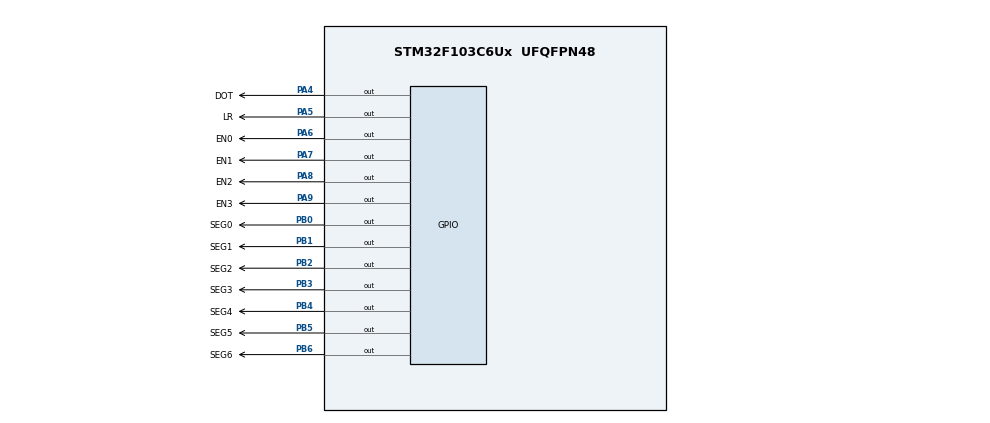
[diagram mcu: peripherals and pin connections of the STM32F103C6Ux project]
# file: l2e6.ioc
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Mcu.Family=STM32F1
Mcu.Name=STM32F103C6Ux
Mcu.Package=UFQFPN48
NVIC.PriorityGroup=NVIC_PRIORITYGROUP_4
NVIC.TIM2_IRQn=true\:0\:0\:false\:false\:true\:true\:true
PA4.GPIO_Label=DOT
PA4.Signal=GPIO_Output
PA5.GPIO_Label=LR
PA5.Signal=GPIO_Output
PA6.GPIO_Label=EN0
PA6.Signal=GPIO_Output
PA7.GPIO_Label=EN1
PA7.Signal=GPIO_Output
PA8.GPIO_Label=EN2
PA8.Signal=GPIO_Output
PA9.GPIO_Label=EN3
PA9.Signal=GPIO_Output
PB0.GPIO_Label=SEG0
PB0.Signal=GPIO_Output
PB1.GPIO_Label=SEG1
PB1.Signal=GPIO_Output
PB2.GPIO_Label=SEG2
PB2.Signal=GPIO_Output
PB3.GPIO_Label=SEG3
PB3.Signal=GPIO_Output
PB4.GPIO_Label=SEG4
PB4.Signal=GPIO_Output
PB5.GPIO_Label=SEG5
PB5.Signal=GPIO_Output
PB6.GPIO_Label=SEG6
PB6.Signal=GPIO_Output
ProjectManager.HeapSize=0x200
ProjectManager.StackSize=0x400
ProjectManager.TargetToolchain=STM32CubeIDE
RCC.APB1Freq_Value=8000000
RCC.APB2Freq_Value=8000000
TIM2.Period=9
TIM2.Prescaler=7999
VP_SYS_VS_ND.Mode=No_Debug
VP_TIM2_VS_ClockSourceINT.Mode=Internal
board=custom

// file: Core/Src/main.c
/* USER CODE BEGIN Header */
/**
  ******************************************************************************
  * @file           : main.c
  * @brief          : Main program body
  ******************************************************************************
  * @attention
  *
  * <h2><center>&copy; Copyright (c) 2026 STMicroelectronics.
  * All rights reserved.</center></h2>
  *
  * This software component is licensed by ST under BSD 3-Clause license,
  * the "License"; You may not use this file except in compliance with the
  * License. You may obtain a copy of the License at:
  *                        opensource.org/licenses/BSD-3-Clause
  *
  ******************************************************************************
  */
/* USER CODE END Header */
#include "main.h"

TIM_HandleTypeDef htim2;

void SystemClock_Config(void);
static void MX_GPIO_Init(void);
static void MX_TIM2_Init(void);

/* USER CODE BEGIN 0 */
int timer0_counter = 0;
int timer0_flag = 0;
int TIMER_CYCLE = 10;
void setTimer0 ( int duration ) {
	timer0_counter = duration / TIMER_CYCLE ;
	timer0_flag = 0;
}
void timer_run () {
	if( timer0_counter > 0){
		timer0_counter--;
		if( timer0_counter == 0) timer0_flag = 1;
	}
}
/* USER CODE END 0 */

void display7SEG(int num) {
    if (num < 0 || num > 9) return;

    uint8_t segMatrix[10][7] = {
        {0, 0, 0, 0, 0, 0, 1}, // Số 0
        {1, 0, 0, 1, 1, 1, 1}, // Số 1
        {0, 0, 1, 0, 0, 1, 0}, // Số 2
        {0, 0, 0, 0, 1, 1, 0}, // Số 3
        {1, 0, 0, 1, 1, 0, 0}, // Số 4
        {0, 1, 0, 0, 1, 0, 0}, // Số 5
        {0, 1, 0, 0, 0, 0, 0}, // Số 6
        {0, 0, 0, 1, 1, 1, 1}, // Số 7
        {0, 0, 0, 0, 0, 0, 0}, // Số 8
        {0, 0, 0, 0, 1, 0, 0}  // Số 9
    };

    HAL_GPIO_WritePin(SEG0_GPIO_Port, SEG0_Pin, segMatrix[num][0]);
    HAL_GPIO_WritePin(SEG1_GPIO_Port, SEG1_Pin, segMatrix[num][1]);
    HAL_GPIO_WritePin(SEG2_GPIO_Port, SEG2_Pin, segMatrix[num][2]);
    HAL_GPIO_WritePin(SEG3_GPIO_Port, SEG3_Pin, segMatrix[num][3]);
    HAL_GPIO_WritePin(SEG4_GPIO_Port, SEG4_Pin, segMatrix[num][4]);
    HAL_GPIO_WritePin(SEG5_GPIO_Port, SEG5_Pin, segMatrix[num][5]);
    HAL_GPIO_WritePin(SEG6_GPIO_Port, SEG6_Pin, segMatrix[num][6]);
}
int counter = 25;
const int MAX_LED = 4;
int index_led = 0;
int led_buffer [4] = {1 , 2 , 3 , 4};
int hour = 15 , minute = 8 , second = 50;

void updateClockBuffer () {
	led_buffer[0] = hour / 10;
	led_buffer[1] = hour % 10;
	led_buffer[2] = minute / 10;
	led_buffer[3] = minute % 10;
}
void update7SEG(int index)
{
    // Tắt cả 4 LED
    HAL_GPIO_WritePin(EN0_GPIO_Port, EN0_Pin, GPIO_PIN_SET);
    HAL_GPIO_WritePin(EN1_GPIO_Port, EN1_Pin, GPIO_PIN_SET);
    HAL_GPIO_WritePin(EN2_GPIO_Port, EN2_Pin, GPIO_PIN_SET);
    HAL_GPIO_WritePin(EN3_GPIO_Port, EN3_Pin, GPIO_PIN_SET);

    switch(index)
    {
        case 0:
            display7SEG(led_buffer[0]);
            HAL_GPIO_WritePin(EN0_GPIO_Port, EN0_Pin, GPIO_PIN_RESET);
            break;
        case 1:
            display7SEG(led_buffer[1]);
            HAL_GPIO_WritePin(EN1_GPIO_Port, EN1_Pin, GPIO_PIN_RESET);
            break;
        case 2:
            display7SEG(led_buffer[2]);
            HAL_GPIO_WritePin(EN2_GPIO_Port, EN2_Pin, GPIO_PIN_RESET);
            break;
        case 3:
            display7SEG(led_buffer[3]);
            HAL_GPIO_WritePin(EN3_GPIO_Port, EN3_Pin, GPIO_PIN_RESET);
            break;
        default:
            break;
    }
}
int main(void)
{

  /* MCU Configuration--------------------------------------------------------*/

  /* Reset of all peripherals, Initializes the Flash interface and the Systick. */
  HAL_Init();

  /* Configure the system clock */
  SystemClock_Config();

  /* Initialize all configured peripherals */
  MX_GPIO_Init();
  MX_TIM2_Init();
  /* USER CODE BEGIN 2 */
  HAL_TIM_Base_Start_IT (& htim2 );
  setTimer0(1000);
  /* USER CODE END 2 */

  /* Infinite loop */
  /* USER CODE BEGIN WHILE */
  while (1)
  {
	  if (timer0_flag == 1) {
		  HAL_GPIO_TogglePin(LR_GPIO_Port, LR_Pin);
		  setTimer0(2000);
	  }
	  second++;
    /* USER CODE END WHILE */
	  if (second >= 60) {
		  second = 0;
		  minute++; }
	  if (minute >= 60) {
		  minute = 0;
		  hour++; }
	  if (hour >= 24) {
		  hour = 0; }
	  updateClockBuffer();
	  HAL_Delay(1000);
  }
}
void SystemClock_Config(void)
{
  RCC_OscInitTypeDef RCC_OscInitStruct = {0};
  RCC_ClkInitTypeDef RCC_ClkInitStruct = {0};

  /** Initializes the RCC Oscillators according to the specified parameters
  * in the RCC_OscInitTypeDef structure.
  */
  RCC_OscInitStruct.OscillatorType = RCC_OSCILLATORTYPE_HSI;
  RCC_OscInitStruct.HSIState = RCC_HSI_ON;
  RCC_OscInitStruct.HSICalibrationValue = RCC_HSICALIBRATION_DEFAULT;
  RCC_OscInitStruct.PLL.PLLState = RCC_PLL_NONE;
  if (HAL_RCC_OscConfig(&RCC_OscInitStruct) != HAL_OK)
  {
    Error_Handler();
  }
  /** Initializes the CPU, AHB and APB buses clocks
  */
  RCC_ClkInitStruct.ClockType = RCC_CLOCKTYPE_HCLK|RCC_CLOCKTYPE_SYSCLK
                              |RCC_CLOCKTYPE_PCLK1|RCC_CLOCKTYPE_PCLK2;
  RCC_ClkInitStruct.SYSCLKSource = RCC_SYSCLKSOURCE_HSI;
  RCC_ClkInitStruct.AHBCLKDivider = RCC_SYSCLK_DIV1;
  RCC_ClkInitStruct.APB1CLKDivider = RCC_HCLK_DIV1;
  RCC_ClkInitStruct.APB2CLKDivider = RCC_HCLK_DIV1;

  if (HAL_RCC_ClockConfig(&RCC_ClkInitStruct, FLASH_LATENCY_0) != HAL_OK)
  {
    Error_Handler();
  }
}

static void MX_TIM2_Init(void)
{

  TIM_ClockConfigTypeDef sClockSourceConfig = {0};
  TIM_MasterConfigTypeDef sMasterConfig = {0};

  htim2.Instance = TIM2;
  htim2.Init.Prescaler = 7999;
  htim2.Init.CounterMode = TIM_COUNTERMODE_UP;
  htim2.Init.Period = 9;
  htim2.Init.ClockDivision = TIM_CLOCKDIVISION_DIV1;
  htim2.Init.AutoReloadPreload = TIM_AUTORELOAD_PRELOAD_DISABLE;
  if (HAL_TIM_Base_Init(&htim2) != HAL_OK)
  {
    Error_Handler();
  }
  sClockSourceConfig.ClockSource = TIM_CLOCKSOURCE_INTERNAL;
  if (HAL_TIM_ConfigClockSource(&htim2, &sClockSourceConfig) != HAL_OK)
  {
    Error_Handler();
  }
  sMasterConfig.MasterOutputTrigger = TIM_TRGO_RESET;
  sMasterConfig.MasterSlaveMode = TIM_MASTERSLAVEMODE_DISABLE;
  if (HAL_TIMEx_MasterConfigSynchronization(&htim2, &sMasterConfig) != HAL_OK)
  {
    Error_Handler();
  }

}

static void MX_GPIO_Init(void)
{
  GPIO_InitTypeDef GPIO_InitStruct = {0};

  /* GPIO Ports Clock Enable */
  __HAL_RCC_GPIOA_CLK_ENABLE();
  __HAL_RCC_GPIOB_CLK_ENABLE();

  /*Configure GPIO pin Output Level */
  HAL_GPIO_WritePin(GPIOA, DOT_Pin|LR_Pin|EN0_Pin|EN1_Pin
                          |EN2_Pin|EN3_Pin, GPIO_PIN_RESET);

  /*Configure GPIO pin Output Level */
  HAL_GPIO_WritePin(GPIOB, SEG0_Pin|SEG1_Pin|SEG2_Pin|SEG3_Pin
                          |SEG4_Pin|SEG5_Pin|SEG6_Pin, GPIO_PIN_RESET);

  /*Configure GPIO pins : DOT_Pin LR_Pin EN0_Pin EN1_Pin
                           EN2_Pin EN3_Pin */
  GPIO_InitStruct.Pin = DOT_Pin|LR_Pin|EN0_Pin|EN1_Pin
                          |EN2_Pin|EN3_Pin;
  GPIO_InitStruct.Mode = GPIO_MODE_OUTPUT_PP;
  GPIO_InitStruct.Pull = GPIO_NOPULL;
  GPIO_InitStruct.Speed = GPIO_SPEED_FREQ_LOW;
  HAL_GPIO_Init(GPIOA, &GPIO_InitStruct);

  /*Configure GPIO pins : SEG0_Pin SEG1_Pin SEG2_Pin SEG3_Pin
                           SEG4_Pin SEG5_Pin SEG6_Pin */
  GPIO_InitStruct.Pin = SEG0_Pin|SEG1_Pin|SEG2_Pin|SEG3_Pin
                          |SEG4_Pin|SEG5_Pin|SEG6_Pin;
  GPIO_InitStruct.Mode = GPIO_MODE_OUTPUT_PP;
  GPIO_InitStruct.Pull = GPIO_NOPULL;
  GPIO_InitStruct.Speed = GPIO_SPEED_FREQ_LOW;
  HAL_GPIO_Init(GPIOB, &GPIO_InitStruct);

}

/* USER CODE BEGIN 4 */
void HAL_TIM_PeriodElapsedCallback ( TIM_HandleTypeDef * htim){
	timer_run();
	counter--;
    if (counter <= 0){
    	counter = 25;
    	if (index_led == 0 || index_led == 2) {
    		HAL_GPIO_TogglePin(DOT_GPIO_Port, DOT_Pin);
    	}
    	update7SEG(index_led++);
    	if (index_led >= MAX_LED) index_led = 0;
    }
}
/* USER CODE END 4 */

void Error_Handler(void)
{
  __disable_irq();
  while (1)
  {
  }
}

/************************ (C) COPYRIGHT STMicroelectronics *****END OF FILE****/
